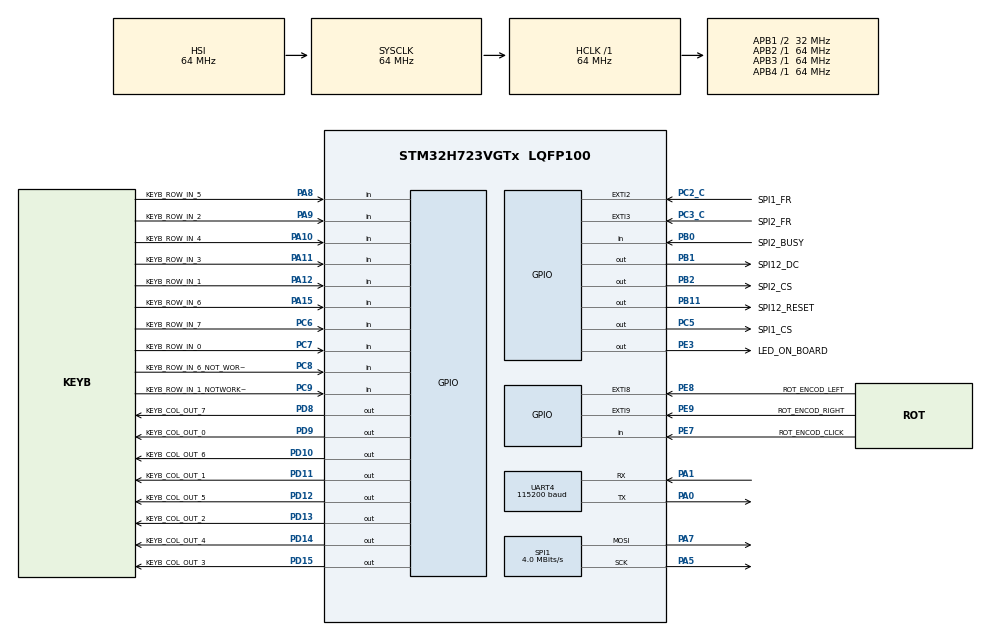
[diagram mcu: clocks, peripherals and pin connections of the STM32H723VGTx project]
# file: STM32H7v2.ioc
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CORTEX_M7.default_mode_Activation=1
Dma.Request0=SPI1_TX
Dma.SPI1_TX.0.Direction=DMA_MEMORY_TO_PERIPH
Dma.SPI1_TX.0.EventEnable=DISABLE
Dma.SPI1_TX.0.FIFOMode=DMA_FIFOMODE_DISABLE
Dma.SPI1_TX.0.Instance=DMA1_Stream0
Dma.SPI1_TX.0.MemDataAlignment=DMA_MDATAALIGN_BYTE
Dma.SPI1_TX.0.MemInc=DMA_MINC_ENABLE
Dma.SPI1_TX.0.Mode=DMA_NORMAL
Dma.SPI1_TX.0.PeriphDataAlignment=DMA_PDATAALIGN_BYTE
Dma.SPI1_TX.0.PeriphInc=DMA_PINC_DISABLE
Dma.SPI1_TX.0.Polarity=HAL_DMAMUX_REQ_GEN_RISING
Dma.SPI1_TX.0.Priority=DMA_PRIORITY_LOW
Dma.SPI1_TX.0.RequestNumber=1
Dma.SPI1_TX.0.SignalID=NONE
Dma.SPI1_TX.0.SyncEnable=DISABLE
Dma.SPI1_TX.0.SyncPolarity=HAL_DMAMUX_SYNC_NO_EVENT
Dma.SPI1_TX.0.SyncRequestNumber=1
Dma.SPI1_TX.0.SyncSignalID=NONE
Mcu.Family=STM32H7
Mcu.Name=STM32H723VGTx
Mcu.Package=LQFP100
NVIC.DMA1_Stream0_IRQn=true\:0\:0\:false\:false\:true\:false\:true\:true
NVIC.EXTI2_IRQn=true\:0\:0\:false\:false\:true\:true\:true\:true
NVIC.EXTI3_IRQn=true\:0\:0\:false\:false\:true\:true\:true\:true
NVIC.EXTI9_5_IRQn=true\:0\:0\:false\:false\:true\:true\:true\:true
NVIC.PriorityGroup=NVIC_PRIORITYGROUP_4
NVIC.SPI1_IRQn=true\:0\:0\:false\:false\:true\:false\:true\:true
NVIC.TIM2_IRQn=true\:0\:0\:false\:false\:true\:true\:true\:true
PA0.Mode=Asynchronous
PA0.Signal=UART4_TX
PA1.Mode=Asynchronous
PA1.Signal=UART4_RX
PA10.GPIO_Label=KEYB_ROW_IN_4
PA10.GPIO_PuPd=GPIO_PULLDOWN
PA10.Signal=GPIO_Input
PA11.GPIO_Label=KEYB_ROW_IN_3
PA11.GPIO_PuPd=GPIO_PULLDOWN
PA11.Signal=GPIO_Input
PA12.GPIO_Label=KEYB_ROW_IN_1
PA12.GPIO_PuPd=GPIO_PULLDOWN
PA12.Signal=GPIO_Input
PA13(JTMS/SWDIO).Mode=Trace_Asynchronous_SW
PA13(JTMS/SWDIO).Signal=DEBUG_JTMS-SWDIO
PA14(JTCK/SWCLK).Mode=Trace_Asynchronous_SW
PA14(JTCK/SWCLK).Signal=DEBUG_JTCK-SWCLK
PA15(JTDI).GPIO_Label=KEYB_ROW_IN_6
PA15(JTDI).GPIO_PuPd=GPIO_PULLDOWN
PA15(JTDI).Signal=GPIO_Input
PA5.Mode=TX_Only_Simplex_Unidirect_Master
PA5.Signal=SPI1_SCK
PA7.Mode=TX_Only_Simplex_Unidirect_Master
PA7.Signal=SPI1_MOSI
PA8.GPIO_Label=KEYB_ROW_IN_5
PA8.GPIO_PuPd=GPIO_PULLDOWN
PA8.Signal=GPIO_Input
PA9.GPIO_Label=KEYB_ROW_IN_2
PA9.GPIO_PuPd=GPIO_PULLDOWN
PA9.Signal=GPIO_Input
PB0.GPIO_Label=SPI2_BUSY
PB0.GPIO_PuPd=GPIO_PULLUP
PB0.Signal=GPIO_Input
PB1.GPIO_Label=SPI12_DC
PB1.GPIO_PuPd=GPIO_PULLUP
PB1.GPIO_Speed=GPIO_SPEED_FREQ_MEDIUM
PB1.PinState=GPIO_PIN_SET
PB1.Signal=GPIO_Output
PB11.GPIO_Label=SPI12_RESET
PB11.GPIO_PuPd=GPIO_PULLUP
PB11.GPIO_Speed=GPIO_SPEED_FREQ_MEDIUM
PB11.PinState=GPIO_PIN_SET
PB11.Signal=GPIO_Output
PB2.GPIO_Label=SPI2_CS
PB2.GPIO_PuPd=GPIO_PULLUP
PB2.GPIO_Speed=GPIO_SPEED_FREQ_MEDIUM
PB2.PinState=GPIO_PIN_SET
PB2.Signal=GPIO_Output
PB3(JTDO/TRACESWO).Mode=Trace_Asynchronous_SW
PB3(JTDO/TRACESWO).Signal=DEBUG_JTDO-SWO
PC2_C.GPIO_Label=SPI1_FR
PC2_C.GPIO_ModeDefaultEXTI=GPIO_MODE_IT_RISING
PC2_C.GPIO_PuPd=GPIO_PULLDOWN
PC2_C.Signal=GPXTI2
PC3_C.GPIO_Label=SPI2_FR
PC3_C.GPIO_ModeDefaultEXTI=GPIO_MODE_IT_RISING
PC3_C.GPIO_PuPd=GPIO_PULLDOWN
PC3_C.Signal=GPXTI3
PC5.GPIO_Label=SPI1_CS
PC5.GPIO_PuPd=GPIO_PULLUP
PC5.PinState=GPIO_PIN_SET
PC5.Signal=GPIO_Output
PC6.GPIO_Label=KEYB_ROW_IN_7            
PC6.GPIO_PuPd=GPIO_PULLDOWN
PC6.Signal=GPIO_Input
PC7.GPIO_Label=KEYB_ROW_IN_0
PC7.GPIO_PuPd=GPIO_PULLDOWN
PC7.Signal=GPIO_Input
PC8.GPIO_Label=KEYB_ROW_IN_6_NOT_WORKING
PC8.GPIO_PuPd=GPIO_PULLDOWN
PC8.Signal=GPIO_Input
PC9.GPIO_Label=KEYB_ROW_IN_1_NOTWORKING
PC9.GPIO_PuPd=GPIO_PULLDOWN
PC9.Signal=GPIO_Input
PD10.GPIO_Label=KEYB_COL_OUT_6
PD10.GPIO_PuPd=GPIO_PULLDOWN
PD10.Signal=GPIO_Output
PD11.GPIO_Label=KEYB_COL_OUT_1
PD11.GPIO_PuPd=GPIO_PULLDOWN
PD11.Signal=GPIO_Output
PD12.GPIO_Label=KEYB_COL_OUT_5
PD12.GPIO_PuPd=GPIO_PULLDOWN
PD12.Signal=GPIO_Output
PD13.GPIO_Label=KEYB_COL_OUT_2
PD13.GPIO_PuPd=GPIO_PULLDOWN
PD13.Signal=GPIO_Output
PD14.GPIO_Label=KEYB_COL_OUT_4
PD14.GPIO_PuPd=GPIO_PULLDOWN
PD14.Signal=GPIO_Output
PD15.GPIO_Label=KEYB_COL_OUT_3
PD15.GPIO_PuPd=GPIO_PULLDOWN
PD15.Signal=GPIO_Output
PD8.GPIO_Label=KEYB_COL_OUT_7
PD8.GPIO_PuPd=GPIO_PULLDOWN
PD8.PinState=GPIO_PIN_RESET
PD8.Signal=GPIO_Output
PD9.GPIO_Label=KEYB_COL_OUT_0
PD9.GPIO_PuPd=GPIO_PULLDOWN
PD9.Signal=GPIO_Output
PE3.GPIO_Label=LED_ON_BOARD
PE3.GPIO_PuPd=GPIO_PULLDOWN
PE3.Signal=GPIO_Output
PE7.GPIO_Label=ROT_ENCOD_CLICK
PE7.GPIO_PuPd=GPIO_PULLUP
PE7.Signal=GPIO_Input
PE8.GPIO_Label=ROT_ENCOD_LEFT
PE8.GPIO_ModeDefaultEXTI=GPIO_MODE_IT_FALLING
PE8.GPIO_PuPd=GPIO_PULLUP
PE8.Signal=GPXTI8
PE9.GPIO_Label=ROT_ENCOD_RIGHT
PE9.GPIO_ModeDefaultEXTI=GPIO_MODE_IT_FALLING
PE9.GPIO_PuPd=GPIO_PULLUP
PE9.Signal=GPXTI9
ProjectManager.HeapSize=0x200
ProjectManager.StackSize=0x400
ProjectManager.TargetToolchain=STM32CubeIDE
RCC.ADCFreq_Value=129000000
RCC.APB1Freq_Value=32000000
RCC.APB2Freq_Value=64000000
RCC.APB3Freq_Value=64000000
RCC.APB4Freq_Value=64000000
RCC.CortexFreq_Value=64000000
RCC.D2PPRE1=RCC_APB1_DIV2
RCC.DIVM1=4
RCC.DIVN1=12
RCC.DIVQ1=3
RCC.HCLKFreq_Value=64000000
RCC.PLLFRACN=0
RCC.SYSCLKFreq_VALUE=64000000
RCC.USBFreq_Value=64000000
SPI1.BaudRatePrescaler=SPI_BAUDRATEPRESCALER_16
SPI1.CLKPhase=SPI_PHASE_1EDGE
SPI1.CLKPolarity=SPI_POLARITY_HIGH
SPI1.CalculateBaudRate=4.0 MBits/s
SPI1.DataSize=SPI_DATASIZE_8BIT
SPI1.Direction=SPI_DIRECTION_2LINES_TXONLY
SPI1.Mode=SPI_MODE_MASTER
SPI1.VirtualType=VM_MASTER
TIM2.Period=1
TIM2.Prescaler=64000
TIM8.Channel-Input_Capture1_from_TI1_REMAP_TIM8=TIM_CHANNEL_1
TIM8.Channel-Input_Capture2_from_TI1_63=TIM_CHANNEL_2
UART4.BaudRate=115200
VP_MEMORYMAP_VS_MEMORYMAP.Mode=CurAppReg
VP_TIM2_VS_ClockSourceINT.Mode=Internal
VP_TIM8_VS_ClockSourceITR.Mode=TriggerSource_ITR0
VP_TIM8_VS_ControllerModeClock.Mode=Clock Mode
VP_TIM8_VS_NoInput1.Mode=Input_Capture1_from_TI1_REMAP_TIM8
VP_TIM8_VS_indirect_ch1.Mode=Input_Capture2_from_TI1_63
board=custom

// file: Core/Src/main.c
/* USER CODE BEGIN Header */
// #define __WE_ACT_STUDIO_VERSION
// #define __WAVESHARE_EPAPER
/* USER CODE END Header */
#include "main.h"
#include "dma.h"
#include "memorymap.h"
#include "spi.h"
#include "tim.h"
#include "usart.h"
#include "gpio.h"

/* USER CODE BEGIN Includes */
#include "stm32h7xx_hal.h"
#include <string.h>
#include "stdint.h"
#include "stdio.h"
#include "math.h"
#include "ssd1320_driver.h"
#include "ssd1320_graphics.h"
#include "keyboard.h"
#include "rotary_encoder.h"
#include <stm32h7xx_hal_pwr_ex.h>
#include <stm32h723xx.h>
#include "test.h"

#include <stdbool.h>
/* USER CODE END Includes */

/* USER CODE BEGIN PV */
uint8_t frame_ready = 0;

// uint32_t rot_encod_right_lastTick = 0;

#ifdef __WE_ACT_STUDIO_VERSION
uint8_t image_bw[EPD_W_BUFF_SIZE * EPD_H];
#endif
/* USER CODE END PV */

void SystemClock_Config(void);
static void MPU_Config(void);
/* USER CODE BEGIN PFP */
#ifdef __WE_ACT_STUDIO_VERSION
int _mainWeActStudio(void);
#endif
#ifdef __WAVESHARE_EPAPER
int _mainWaveShare(void);
#endif

/*void SSD1320_SwapBuffers(void) {
  uint8_t* temp = active_buffer;
  active_buffer = draw_buffer;
  draw_buffer = temp;
}*/

/* USER CODE END PFP */

/* USER CODE BEGIN 0 */

// (Chabe) SWO printf config :
/*int _write(int file, char *ptr, int len) {
  int DataIdx;
  for (DataIdx = 0; DataIdx < len; DataIdx++) {
    ITM_SendChar(*ptr++);
  }
  return len;
}*/

// (Chabe) USART printf configuration :
#ifdef __GNUC__
#define PUTCHAR_PROTOTYPE int __io_putchar(int ch)
#else
#define PUTCHAR_PROTOTYPE int fputc(int ch, FILE *f)
#endif /* __GNUC__ */

PUTCHAR_PROTOTYPE
{
  HAL_UART_Transmit(&huart4, (uint8_t *)&ch, 1, 0xFFFF);
  return ch;
}

volatile bool fr1_flag = false; // Drapeau pour FR1
volatile bool fr2_flag = false; // Drapeau pour FR2

#ifdef DOUBLE_TIME_ROTARY_ENCODER_DEBOUNCE
void HAL_GPIO_EXTI_Callback(uint16_t GPIO_Pin)
{
  if (GPIO_Pin == SPI2_FR_Pin) {
    printf("FR1\r\n");
  }
  if (GPIO_Pin == SPI2_FR_Pin) {
    printf("FR2\r\n");
  }
  scanRotaryEncoder(GPIO_Pin);
}
#else
void HAL_GPIO_EXTI_Callback(uint16_t GPIO_Pin)
{
  if (GPIO_Pin == SPI1_FR_Pin) {
      printf("Left ready");
    fr1_flag = true;
  }
  if (GPIO_Pin == SPI2_FR_Pin) {
      printf("Right ready");
    fr2_flag = true;
  }
}
#endif
/*
void App_DrawUI(void)
{
  ClearCurPaintingBuffer();
  ResetBoundingBox();

  DrawRect4BPP(0, 0, 160, 132, 0x8, 0);
  DrawLine4BPP(0, 0, 70, 131, 0x7);
  DrawLine4BPP(0, 0, 40, 131, 0xf);
  DrawLine4BPP(70, 131, 290, 40, 0x9);
  DrawRect4BPP(260, 40, 26, 30, 0x8, 0);

  DrawText4BPP("SSD1320z2", 180, 20, 0xc);

  uint16_t x_min, x_max, y_min, y_max;
  //GetBoundingBox(&x_min, &x_max, &y_min, &y_max);

  //SSD1320_SetAddress(x_min / 2, x_max / 2, y_min, y_max);
  SSD1320_SetAddress(0, 79, 0, 131);
  SSD1320_SendBuffer_Left();
  SSD1320_SendBuffer_Right();

  frame_ready = 1;
}
*/
/* USER CODE END 0 */

int main(void)
{

  /* MPU Configuration--------------------------------------------------------*/
  MPU_Config();

  /* MCU Configuration--------------------------------------------------------*/

  /* Reset of all peripherals, Initializes the Flash interface and the Systick. */
  HAL_Init();

  /* Configure the system clock */
  SystemClock_Config();

  /* Initialize all configured peripherals */
  MX_GPIO_Init();
  MX_DMA_Init();
  MX_TIM8_Init();
  MX_UART4_Init();
  MX_SPI1_Init();
  MX_TIM2_Init();
  /* USER CODE BEGIN 2 */

  HAL_TIM_Base_Start_IT(&htim2);
#ifdef __WE_ACT_STUDIO_VERSION
  _mainWeActStudio();
#endif
#ifdef __WAVESHARE_EPAPER
  _mainWaveShare();
#endif
  printf("Screen init : \r\n");
  SSD1320_Init();

  //App_DrawUI();
  test_cpp_class();
  /* USER CODE END 2 */

  /* Infinite loop */
  /* USER CODE BEGIN WHILE */
  static uint32_t animationStartTime = 0;
  static uint32_t animationDuration = 4000; // Durée de l'animation en ms (2 secondes)
  bool is_animation_wished = false;
  while (1)
  {
    /* USER CODE END WHILE */

    /* USER CODE BEGIN 3 */
    /*ITM_SendChar('a');
    ITM_SendChar('b');
    ITM_SendChar('c');
    ITM_SendChar('\n');*/

    // <rotary>
    scanRotaryEncoderSwitch();
    // </rotary>

    // <blink>
    // HAL_GPIO_TogglePin (GPIOE, LED_ON_BOARD_Pin);
    // HAL_Delay (1000);
    // </blink>
    static uint32_t last = 0;
    if (HAL_GetTick() - last > 10) {
      last = HAL_GetTick();

      KeysState_t keysState = getKeysState();
      for (int newIdx = 0; newIdx < keysState.newNb; newIdx++)
      {
        printf("New char %i\r\n", keysState.new[newIdx]);

        if (keysState.alreadyNb != 0)
        {
          for (int alreadyIdx = 0; alreadyIdx < keysState.alreadyNb; alreadyIdx++)
          {
            printf("  Already %i\r\n", keysState.already[alreadyIdx]);
          }
        }
      }
    }

    if (fr1_flag) {
      fr1_flag = false;
      // Trigger animation after transfer for left and right buffers
      if (
        buffers[cur_buffer_idx_to_send].left_screen_status != BUFFER_SENDING &&
        buffers[cur_buffer_idx_to_send].right_screen_status != BUFFER_SENDING) {

        is_animation_wished = true;

      }

    }

    if (fr2_flag) {
      fr2_flag = false;
      if (
        buffers[cur_buffer_idx_to_send].left_screen_status != BUFFER_SENDING &&
        buffers[cur_buffer_idx_to_send].right_screen_status != BUFFER_SENDING) {
        is_animation_wished = true;

      //SSD1320_SetAddress(0, 79, 0, 131);
      ///SSD1320_SetAddress(0, 79, 0, 131);

      }
    }

    if (is_animation_wished) {
        printf("  Animation");
      is_animation_wished = false;

      // Calculate elapsed time for animation
      uint32_t elapsedTime = HAL_GetTick() - animationStartTime;

      // Reset animation after its duration
      if (elapsedTime > animationDuration) {
        animationStartTime = HAL_GetTick();
        elapsedTime = 0;
      }

      // Clear the buffer before drawing
      ClearCurPaintingBuffer();

      // Draw fixed rectangle
      DrawRect4BPP(150, 20, 60, 40, 0x9, 1);

      // Animation du premier rectangle
      uint16_t rect1StartX = 90, rect1EndX = 210;
      uint16_t rect1StartY = 20, rect1EndY = 80;
      uint16_t rect1Width = 30, rect1Height = 20;

      uint16_t rect1X = (uint16_t)EaseInOutQuad(elapsedTime, rect1StartX, rect1EndX - rect1StartX, animationDuration);
      uint16_t rect1Y = (uint16_t)EaseInOutQuad(elapsedTime, rect1StartY, rect1EndY - rect1StartY, animationDuration);

      DrawRect4BPP(rect1X, rect1Y, rect1Width, rect1Height, 0xF, 1);

      // Animation du deuxième rectangle
      uint16_t rect2StartX = 200, rect2EndX = 120;
      uint16_t rect2StartY = 50, rect2EndY = 100;
      uint16_t rect2Width = 40, rect2Height = 30;

      uint16_t rect2X = (uint16_t)EaseInOutQuad(elapsedTime, rect2StartX, rect2EndX - rect2StartX, animationDuration);
      uint16_t rect2Y = (uint16_t)EaseInOutQuad(elapsedTime, rect2StartY, rect2EndY - rect2StartY, animationDuration);

      DrawRect4BPP(rect2X, rect2Y, rect2Width, rect2Height, 0x7, 1);

      SSD1320_SetAddress(0, 79, 0, 131);
      SSD1320_SendBuffer_Left();
      //SSD1320_SendBuffer_Right();
    }

    rotary_process_log();
  }
  /* USER CODE END 3 */
}

void SystemClock_Config(void)
{
  RCC_OscInitTypeDef RCC_OscInitStruct = {0};
  RCC_ClkInitTypeDef RCC_ClkInitStruct = {0};

  /** Supply configuration update enable
  */
  HAL_PWREx_ConfigSupply(PWR_LDO_SUPPLY);

  /** Configure the main internal regulator output voltage
  */
  __HAL_PWR_VOLTAGESCALING_CONFIG(PWR_REGULATOR_VOLTAGE_SCALE3);

  while(!__HAL_PWR_GET_FLAG(PWR_FLAG_VOSRDY)) {}

  /** Initializes the RCC Oscillators according to the specified parameters
  * in the RCC_OscInitTypeDef structure.
  */
  RCC_OscInitStruct.OscillatorType = RCC_OSCILLATORTYPE_HSI;
  RCC_OscInitStruct.HSIState = RCC_HSI_DIV1;
  RCC_OscInitStruct.HSICalibrationValue = 64;
  RCC_OscInitStruct.PLL.PLLState = RCC_PLL_ON;
  RCC_OscInitStruct.PLL.PLLSource = RCC_PLLSOURCE_HSI;
  RCC_OscInitStruct.PLL.PLLM = 4;
  RCC_OscInitStruct.PLL.PLLN = 12;
  RCC_OscInitStruct.PLL.PLLP = 2;
  RCC_OscInitStruct.PLL.PLLQ = 3;
  RCC_OscInitStruct.PLL.PLLR = 2;
  RCC_OscInitStruct.PLL.PLLRGE = RCC_PLL1VCIRANGE_3;
  RCC_OscInitStruct.PLL.PLLVCOSEL = RCC_PLL1VCOWIDE;
  RCC_OscInitStruct.PLL.PLLFRACN = 0;
  if (HAL_RCC_OscConfig(&RCC_OscInitStruct) != HAL_OK)
  {
    Error_Handler();
  }

  /** Initializes the CPU, AHB and APB buses clocks
  */
  RCC_ClkInitStruct.ClockType = RCC_CLOCKTYPE_HCLK|RCC_CLOCKTYPE_SYSCLK
                              |RCC_CLOCKTYPE_PCLK1|RCC_CLOCKTYPE_PCLK2
                              |RCC_CLOCKTYPE_D3PCLK1|RCC_CLOCKTYPE_D1PCLK1;
  RCC_ClkInitStruct.SYSCLKSource = RCC_SYSCLKSOURCE_HSI;
  RCC_ClkInitStruct.SYSCLKDivider = RCC_SYSCLK_DIV1;
  RCC_ClkInitStruct.AHBCLKDivider = RCC_HCLK_DIV1;
  RCC_ClkInitStruct.APB3CLKDivider = RCC_APB3_DIV1;
  RCC_ClkInitStruct.APB1CLKDivider = RCC_APB1_DIV2;
  RCC_ClkInitStruct.APB2CLKDivider = RCC_APB2_DIV1;
  RCC_ClkInitStruct.APB4CLKDivider = RCC_APB4_DIV1;

  if (HAL_RCC_ClockConfig(&RCC_ClkInitStruct, FLASH_LATENCY_1) != HAL_OK)
  {
    Error_Handler();
  }
}

/* USER CODE BEGIN 4 */
#ifdef __WE_ACT_STUDIO_VERSION
int _mainWeActStudio(void)
{
  uint8_t text[20];

  HAL_Delay(1000);
  printf("WeActStudio start : \r\n");
  epd_init();
  epd_paint_clear(EPD_COLOR_WHITE);
  epd_paint_newimage(image_bw, EPD_W, EPD_H, EPD_ROTATE_270, EPD_COLOR_WHITE);
  epd_paint_selectimage(image_bw);
  epd_paint_clear(EPD_COLOR_WHITE);
  epd_paint_showPicture(
      (EPD_W - 250) / 2,
      (EPD_H - 122) / 2,
      250, 122,
      gImage_1,
      EPD_COLOR_WHITE);
  epd_displayBW(image_bw);
  // epd_enter_deepsleepmode(EPD_DEEPSLEEP_MODE1);

  HAL_Delay(2000);
  printf("... Partial display  \r\n");
  epd_init_partial();

  epd_paint_selectimage(image_bw);
  epd_paint_clear(EPD_COLOR_WHITE);

  epd_paint_showString(10, 0, (uint8_t *)&"4.2 Inch Epaper Module", EPD_FONT_SIZE24x12, EPD_COLOR_BLACK);
  epd_paint_showString(10, 50, (uint8_t *)&"with 400 x 300 resolution", EPD_FONT_SIZE16x8, EPD_COLOR_BLACK);
  epd_paint_showString(10, 29, (uint8_t *)&"Designed By WeAct Studio", EPD_FONT_SIZE16x8, EPD_COLOR_BLACK);

  /*#if 0
    epd_paint_showString(10,100,(uint8_t *)&"CH32F103C8T6 Example",EPD_FONT_SIZE16x8,EPD_COLOR_BLACK);
  #else*/
  epd_paint_drawRectangle(10, EPD_W - 20, EPD_H - 10, EPD_W - 6, EPD_COLOR_BLACK, 1);
  epd_update();
  // #endif
  HAL_Delay(1500);
  /*epd_paint_clear(EPD_COLOR_WHITE);
  HAL_Delay(700);
  epd_paint_clear(EPD_COLOR_BLACK);
  HAL_Delay(700);
  epd_paint_clear(EPD_COLOR_WHITE);
  HAL_Delay(700);
  epd_paint_clear(EPD_COLOR_BLACK);
*/
  sprintf((char *)&text, ">> Partial Mode");
  epd_paint_showString(10, 71, text, EPD_FONT_SIZE24x12, EPD_COLOR_BLACK);

  epd_displayBW_partial(image_bw);

  printf("Before loop.\r\n");
  HAL_Delay(500);

  for (int i = 123; i < 8 * 123; i += 123)
  {
    sprintf((char *)&text, ">> Num=%d     ", i);
    epd_paint_showString(10, 71, text, EPD_FONT_SIZE24x12, EPD_COLOR_BLACK);

    epd_displayBW_partial(image_bw);

    HAL_Delay(100);
  }

  sprintf((char *)&text, ">> Hello World.");
  epd_paint_showString(10, 71, text, EPD_FONT_SIZE24x12, EPD_COLOR_BLACK);
  epd_displayBW_partial(image_bw);

  HAL_Delay(1000);
  epd_paint_clear(EPD_COLOR_WHITE);
  epd_update();

  epd_enter_deepsleepmode(EPD_DEEPSLEEP_MODE1);

  printf("END ");
  printf("(WeActStudio Code)\r\n");
}

#endif

#ifdef __WAVESHARE_EPAPER

int _mainWaveShare(void)
{
  printf("EPD_4IN2_V2_test Demo\r\n");
  if (DEV_Module_Init() != 0)
  {
    return -1;
  }

  printf("e-Paper Init and Clear...\r\n");
  EPD_4IN2_V2_Init();
  EPD_4IN2_V2_Clear();
  DEV_Delay_ms(500);

  // Create a new image cache
  UBYTE *BlackImage;
  /* you have to edit the startup_stm32fxxx.s file and set a big enough heap size */
  UWORD Imagesize = ((EPD_4IN2_V2_WIDTH % 8 == 0) ? (EPD_4IN2_V2_WIDTH / 8) : (EPD_4IN2_V2_WIDTH / 8 + 1)) * EPD_4IN2_V2_HEIGHT;
  if ((BlackImage = (UBYTE *)malloc(Imagesize)) == NULL)
  {
    printf("Failed to apply for black memory...\r\n");
    return -1;
  }
  printf("Paint_NewImage\r\n");
  Paint_NewImage(BlackImage, EPD_4IN2_V2_WIDTH, EPD_4IN2_V2_HEIGHT, 0, WHITE);

#if 0 // show bmp
      printf("Clear WHITE\r\n");
      Paint_SelectImage(BlackImage);
      Paint_Clear(WHITE);
      //Paint_DrawBitMap(gImage_4in2);
      EPD_4IN2_V2_Display(BlackImage);
      DEV_Delay_ms(2000);
      printf("Clear BLACK\r\n");
      Paint_SelectImage(BlackImage);
      Paint_Clear(BLACK);
      //Paint_DrawBitMap(gImage_4in2);
      EPD_4IN2_V2_Display(BlackImage);
      DEV_Delay_ms(2000);

#endif

#if 0 // show image for array
    //    EPD_4IN2_V2_Init_Fast(Seconds_1_5S);
      EPD_4IN2_V2_Init_Fast(Seconds_1S);
      printf("show image for array\r\n");
      Paint_SelectImage(BlackImage);
      Paint_Clear(WHITE);
      Paint_DrawBitMap(gImage_4in2);
      EPD_4IN2_V2_Display_Fast(BlackImage);
      DEV_Delay_ms(2000);
#endif

#if 1 // Drawing on the image

  EPD_4IN2_V2_Init();
  // 1.Select Image
  printf("SelectImage:BlackImage\r\n");
  Paint_SelectImage(BlackImage);
  Paint_Clear(WHITE);

  // 2.Drawing on the image
  printf("Drawing:BlackImage\r\n");
  Paint_DrawPoint(10, 80, BLACK, DOT_PIXEL_1X1, DOT_STYLE_DFT);
  Paint_DrawPoint(10, 90, BLACK, DOT_PIXEL_2X2, DOT_STYLE_DFT);
  Paint_DrawPoint(10, 100, BLACK, DOT_PIXEL_3X3, DOT_STYLE_DFT);
  Paint_DrawLine(20, 70, 70, 120, BLACK, DOT_PIXEL_1X1, LINE_STYLE_SOLID);
  Paint_DrawLine(70, 70, 20, 120, BLACK, DOT_PIXEL_1X1, LINE_STYLE_SOLID);
  Paint_DrawRectangle(20, 70, 70, 120, BLACK, DOT_PIXEL_1X1, DRAW_FILL_EMPTY);
  Paint_DrawRectangle(80, 70, 130, 120, BLACK, DOT_PIXEL_1X1, DRAW_FILL_FULL);
  Paint_DrawCircle(45, 95, 20, BLACK, DOT_PIXEL_1X1, DRAW_FILL_EMPTY);
  Paint_DrawCircle(105, 95, 20, WHITE, DOT_PIXEL_1X1, DRAW_FILL_FULL);
  Paint_DrawLine(85, 95, 125, 95, BLACK, DOT_PIXEL_1X1, LINE_STYLE_DOTTED);
  Paint_DrawLine(105, 75, 105, 115, BLACK, DOT_PIXEL_1X1, LINE_STYLE_DOTTED);
  Paint_DrawString_EN(10, 0, "waveshare", &Font16, BLACK, WHITE);
  Paint_DrawString_EN(10, 20, "hello world", &Font12, WHITE, BLACK);
  Paint_DrawNum(10, 33, 123456789, &Font12, BLACK, WHITE);
  Paint_DrawNum(10, 50, 987654321, &Font16, WHITE, BLACK);
  Paint_DrawString_CN(130, 0, " ���abc", &Font12CN, BLACK, WHITE);
  Paint_DrawString_CN(130, 20, "΢ѩ����", &Font24CN, WHITE, BLACK);

  printf("EPD_Display\r\n");
  // EPD_4IN2_V2_Display(BlackImage);
  EPD_4IN2_V2_Display(BlackImage);
  DEV_Delay_ms(1000);
  // Paint_Clear(WHITE);
  // EPD_4IN2_V2_Display(BlackImage);
#endif

#if 1
  EPD_4IN2_V2_Reset();
  Paint_NewImage(BlackImage, 200, 50, 0, WHITE);
  PAINT_TIME sPaint_time;
  sPaint_time.Hour = 12;
  sPaint_time.Min = 34;
  sPaint_time.Sec = 56;
  UBYTE num = 12;
  Paint_Clear(WHITE);
  for (;;)
  {
    sPaint_time.Sec = sPaint_time.Sec + 1;
    if (sPaint_time.Sec == 60)
    {
      sPaint_time.Min = sPaint_time.Min + 1;
      sPaint_time.Sec = 0;
      if (sPaint_time.Min == 60)
      {
        sPaint_time.Hour = sPaint_time.Hour + 1;
        sPaint_time.Min = 0;
        if (sPaint_time.Hour == 24)
        {
          sPaint_time.Hour = 0;
          sPaint_time.Min = 0;
          sPaint_time.Sec = 0;
        }
      }
    }
    Paint_Clear(WHITE);
    Paint_DrawTime(20, 10, &sPaint_time, &Font20, WHITE, BLACK);
    if (num % 3 == 0)
    {
      EPD_4IN2_V2_PartialDisplay(BlackImage, 80, 200, 280, 250);
    }
    else
    {
      EPD_4IN2_V2_PartialDisplay(BlackImage, 100, 250, 300, 300);
    }
    DEV_Delay_ms(1600); // Analog clock 1s
    num = num - 1;
    if (num == 0)
    {
      break;
    }
  }
  DEV_Delay_ms(2000);

  // Paint_Clear(WHITE);

  UWORD Dx = Font20.Width;
  UWORD Dy = Font20.Height;
  printf("\r\n\r\nPartial refresh on (%i * %i)\r\n", 30 * Dx, Dy);
  int subImageWidth = 10;
  int subImageHeight = 20;
  printf("  -> display one letter\r\n");
  Paint_NewImage(BlackImage, 10, 20, 0, WHITE);

  for (int i = 0; i < 30; i++)
  {
    int posX = 10 + i * 20;
    int posY = 100;
    Paint_Clear(WHITE);
    Paint_DrawChar(0, 0, 'a' + i, &Font20, BLACK, WHITE);
    // On deplace la fenetre de 10 en 10.
    EPD_4IN2_V2_PartialDisplay(BlackImage, posX, posY, posX + subImageWidth, posY + subImageHeight);
    // EPD_4IN2_V2_PartialDisplay(BlackImage, 10 + Dx * i, 200, 10 + Dx * (i + 1), 200 + Dy);
  }
  printf("\r\n\r\nPartial refresh END\r\n");
  Paint_Clear(WHITE);

#endif

#if 1
  // EPD_4IN2_V2_Init();
  // EPD_4IN2_V2_Clear();
  EPD_4IN2_V2_Init_4Gray();
  printf("show Gray------------------------\r\n");
  free(BlackImage);
  BlackImage = NULL;
  Imagesize = ((EPD_4IN2_V2_WIDTH % 8 == 0) ? (EPD_4IN2_V2_WIDTH / 4) : (EPD_4IN2_V2_WIDTH / 4 + 1)) * EPD_4IN2_V2_HEIGHT;
  if ((BlackImage = (UBYTE *)malloc(Imagesize)) == NULL)
  {
    printf("Failed to apply for black memory...\r\n");
    return -1;
  }
  Paint_NewImage(BlackImage, EPD_4IN2_V2_WIDTH, EPD_4IN2_V2_HEIGHT, 0, WHITE);
  Paint_SetScale(4);
  Paint_Clear(WHITE);

  Paint_DrawPoint(10, 80, BLACK, DOT_PIXEL_1X1, DOT_STYLE_DFT);
  Paint_DrawPoint(10, 90, BLACK, DOT_PIXEL_2X2, DOT_STYLE_DFT);
  Paint_DrawPoint(10, 100, BLACK, DOT_PIXEL_3X3, DOT_STYLE_DFT);
  Paint_DrawLine(20, 70, 70, 120, BLACK, DOT_PIXEL_1X1, LINE_STYLE_SOLID);
  Paint_DrawLine(70, 70, 20, 120, BLACK, DOT_PIXEL_1X1, LINE_STYLE_SOLID);
  Paint_DrawRectangle(20, 70, 70, 120, BLACK, DOT_PIXEL_1X1, DRAW_FILL_EMPTY);
  Paint_DrawRectangle(80, 70, 130, 120, BLACK, DOT_PIXEL_1X1, DRAW_FILL_FULL);
  Paint_DrawCircle(45, 95, 20, BLACK, DOT_PIXEL_1X1, DRAW_FILL_EMPTY);
  Paint_DrawCircle(105, 95, 20, WHITE, DOT_PIXEL_1X1, DRAW_FILL_FULL);
  Paint_DrawLine(85, 95, 125, 95, BLACK, DOT_PIXEL_1X1, LINE_STYLE_DOTTED);
  Paint_DrawLine(105, 75, 105, 115, BLACK, DOT_PIXEL_1X1, LINE_STYLE_DOTTED);
  Paint_DrawString_EN(10, 0, "waveshare", &Font16, BLACK, WHITE);
  Paint_DrawString_EN(10, 20, "hello world", &Font12, WHITE, BLACK);
  Paint_DrawNum(10, 33, 123456789, &Font12, BLACK, WHITE);
  Paint_DrawNum(10, 50, 987654321, &Font16, WHITE, BLACK);
  Paint_DrawString_CN(140, 0, "���abc", &Font12CN, GRAY1, GRAY4);
  Paint_DrawString_CN(140, 40, "���abc", &Font12CN, GRAY2, GRAY3);
  Paint_DrawString_CN(140, 80, "���abc", &Font12CN, GRAY3, GRAY2);
  Paint_DrawString_CN(140, 120, "���abc", &Font12CN, GRAY4, GRAY1);

  Paint_DrawString_CN(220, 0, "΢ѩ����", &Font24CN, GRAY1, GRAY4);
  Paint_DrawString_CN(220, 40, "΢ѩ����", &Font24CN, GRAY2, GRAY3);
  Paint_DrawString_CN(220, 80, "΢ѩ����", &Font24CN, GRAY3, GRAY2);
  Paint_DrawString_CN(220, 120, "΢ѩ����", &Font24CN, GRAY4, GRAY1);

  EPD_4IN2_V2_Display_4Gray(BlackImage);
  DEV_Delay_ms(2000);

  Paint_Clear(WHITE);
  Paint_DrawBitMap(gImage_4in2_4Gray);
  EPD_4IN2_V2_Display_4Gray(BlackImage);
  DEV_Delay_ms(2000);

#endif

  EPD_4IN2_V2_Init();
  EPD_4IN2_V2_Clear();
  printf("Goto Sleep...\r\n");
  EPD_4IN2_V2_Sleep();
  free(BlackImage);
  BlackImage = NULL;
  DEV_Delay_ms(2000); // important, at least 2s
  // close 5V
  printf("close 5V, Module enters 0 power consumption ...\r\n");
  DEV_Module_Exit();

  return 0;
}
#endif
/* USER CODE END 4 */

 /* MPU Configuration */

void MPU_Config(void)
{
  MPU_Region_InitTypeDef MPU_InitStruct = {0};

  /* Disables the MPU */
  HAL_MPU_Disable();

  /** Initializes and configures the Region and the memory to be protected
  */
  MPU_InitStruct.Enable = MPU_REGION_ENABLE;
  MPU_InitStruct.Number = MPU_REGION_NUMBER0;
  MPU_InitStruct.BaseAddress = 0x0;
  MPU_InitStruct.Size = MPU_REGION_SIZE_4GB;
  MPU_InitStruct.SubRegionDisable = 0x87;
  MPU_InitStruct.TypeExtField = MPU_TEX_LEVEL0;
  MPU_InitStruct.AccessPermission = MPU_REGION_NO_ACCESS;
  MPU_InitStruct.DisableExec = MPU_INSTRUCTION_ACCESS_DISABLE;
  MPU_InitStruct.IsShareable = MPU_ACCESS_SHAREABLE;
  MPU_InitStruct.IsCacheable = MPU_ACCESS_NOT_CACHEABLE;
  MPU_InitStruct.IsBufferable = MPU_ACCESS_NOT_BUFFERABLE;

  HAL_MPU_ConfigRegion(&MPU_InitStruct);
  /* Enables the MPU */
  HAL_MPU_Enable(MPU_PRIVILEGED_DEFAULT);

}

void Error_Handler(void)
{
  __disable_irq();
  while (1)
  {
  }
}
